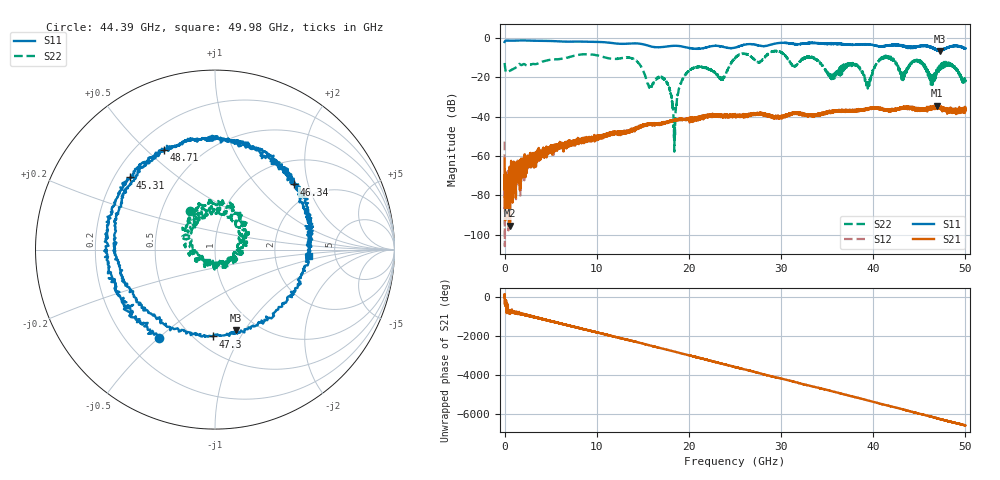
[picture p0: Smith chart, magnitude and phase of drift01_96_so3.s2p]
!Created with skrf (http://scikit-rf.org).
# Hz S RI R 50.0
!freq ReS11 ImS11 ReS21 ImS21 ReS12 ImS12 ReS22 ImS22
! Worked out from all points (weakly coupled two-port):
!   10001 points, 300 kHz to 50 GHz, reference 50 ohm
!   highest |S21| = -34.51 dB at 46.96 GHz (marker M1); lowest = -95.4 dB at 585.3 MHz (marker M2)
!   lowest |S11| = -6.7 dB at 47.2 GHz (marker M3), VSWR 2.74, Z = 39.9 - j45.8 ohm
!   |S11| at or under -10 dB: nowhere
!   |S22| runs from -57.8 to -6.6 dB; largest |S21 - S12| = 0.0039
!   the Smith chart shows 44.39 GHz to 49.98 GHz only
!   S11 on the Smith chart (normalised r, x): 44.39 GHz: 0.34, -0.50; 45.31 GHz: 0.26, +0.35; 46.34 GHz: 1.51, +1.62; 47.3 GHz: 0.61, -0.77; 48.71 GHz: 0.31, +0.57; 49.98 GHz: 3.19, -0.29
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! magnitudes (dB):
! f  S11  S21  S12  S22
! 300 kHz  -2.1  -61.4  -52.7  -12.8
! 585.3 MHz  -1.5  -95.4  -70.7  -16.7
! 8.335 GHz  -1.9  -51.9  -51.4  -8.5
! 16.67 GHz  -4.8  -43.9  -43.6  -20.0
! 17.74 GHz  -4.3  -42.7  -42.7  -24.0
! 18.44 GHz  -4.1  -41.8  -41.8  -50.8
! 19.9 GHz  -5.1  -41.6  -41.8  -17.3
! 23.6 GHz  -4.5  -40.1  -39.4  -20.5
! 25 GHz  -5.0  -39.8  -39.4  -10.3
! 33.34 GHz  -2.6  -39.4  -39.5  -9.9
! 39.46 GHz  -3.3  -35.7  -35.8  -23.3
! 41.67 GHz  -3.9  -36.4  -36.8  -10.0
! 43.18 GHz  -4.2  -35.4  -35.7  -18.7
! 44.39 GHz  -4.7  -35.9  -35.6  -11.9
! 45.31 GHz  -4.2  -36.7  -35.7  -13.5
! 46.34 GHz  -4.9  -35.7  -36.0  -19.1
! 46.96 GHz  -6.2  -34.5  -35.3  -17.9
! 47.2 GHz  -6.7  -35.5  -35.6  -14.5
! 47.3 GHz  -6.3  -35.6  -36.0  -15.4
! 48.71 GHz  -4.1  -37.9  -37.3  -14.4
! 49.98 GHz  -5.6  -37.2  -36.1  -21.6
! 50 GHz  -5.4  -36.2  -36.8  -21.6
